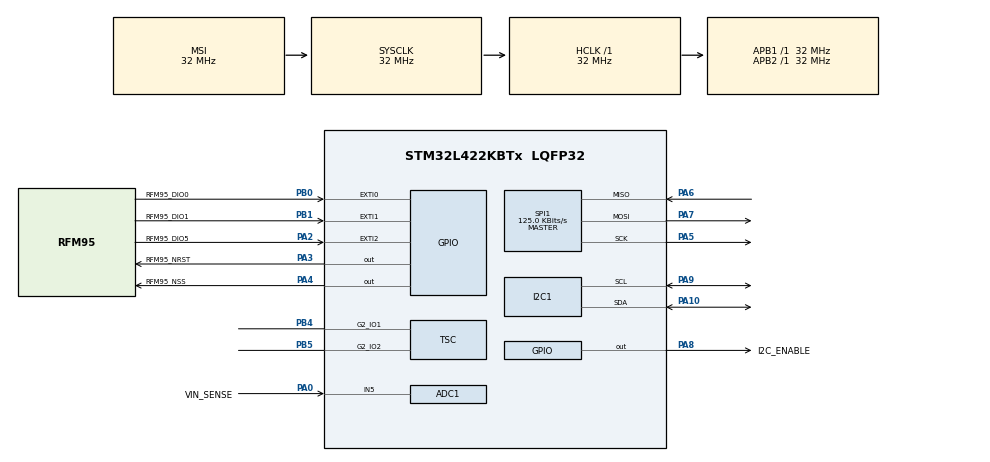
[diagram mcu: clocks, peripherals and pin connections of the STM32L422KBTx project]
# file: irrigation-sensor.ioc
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ADC1.Channel-0\#ChannelRegularConversion=ADC_CHANNEL_5
ADC1.NbrOfConversion=1
ADC1.NbrOfConversionFlag=1
ADC1.OffsetNumber-0\#ChannelRegularConversion=ADC_OFFSET_NONE
ADC1.Rank-0\#ChannelRegularConversion=1
ADC1.SamplingTime-0\#ChannelRegularConversion=ADC_SAMPLETIME_2CYCLES_5
ADC1.master=1
I2C1.Timing=0x00707CBB
IWDG.Prescaler=IWDG_PRESCALER_256
IWDG.Reload=1250
IWDG.Window=1250
Mcu.Family=STM32L4
Mcu.Name=STM32L422KBTx
Mcu.Package=LQFP32
NVIC.EXTI0_IRQn=true\:0\:0\:false\:false\:true\:true\:true
NVIC.EXTI1_IRQn=true\:0\:0\:false\:false\:true\:true\:true
NVIC.EXTI2_IRQn=true\:0\:0\:false\:false\:true\:true\:true
NVIC.LPTIM1_IRQn=true\:0\:0\:false\:false\:true\:true\:true
NVIC.PriorityGroup=NVIC_PRIORITYGROUP_4
PA0-CK_IN.GPIO_Label=VIN_SENSE
PA0-CK_IN.Signal=ADCx_IN5
PA10.Mode=I2C
PA10.Signal=I2C1_SDA
PA13\ (JTMS/SWDIO).Mode=Serial_Wire
PA13\ (JTMS/SWDIO).Signal=SYS_JTMS-SWDIO
PA14\ (JTCK/SWCLK).Mode=Serial_Wire
PA14\ (JTCK/SWCLK).Signal=SYS_JTCK-SWCLK
PA2.GPIO_Label=RFM95_DIO5
PA2.GPIO_PuPd=GPIO_NOPULL
PA2.Signal=GPXTI2
PA3.GPIO_Label=RFM95_NRST
PA3.Signal=GPIO_Output
PA4.GPIO_Label=RFM95_NSS
PA4.PinState=GPIO_PIN_SET
PA4.Signal=GPIO_Output
PA5.Mode=Full_Duplex_Master
PA5.Signal=SPI1_SCK
PA6.Mode=Full_Duplex_Master
PA6.Signal=SPI1_MISO
PA7.Mode=Full_Duplex_Master
PA7.Signal=SPI1_MOSI
PA8.GPIO_Label=I2C_ENABLE
PA8.GPIO_PuPd=GPIO_NOPULL
PA8.PinState=GPIO_PIN_SET
PA8.Signal=GPIO_Output
PA9.Mode=I2C
PA9.Signal=I2C1_SCL
PB0.GPIO_Label=RFM95_DIO0
PB0.GPIO_PuPd=GPIO_NOPULL
PB0.Signal=GPXTI0
PB1.GPIO_Label=RFM95_DIO1
PB1.GPIO_PuPd=GPIO_NOPULL
PB1.Signal=GPXTI1
PB4\ (NJTRST).Mode=G2_IO1-Sampling
PB4\ (NJTRST).Signal=TSC_G2_IO1
PB5.Mode=G2_IO2-Channel
PB5.Signal=TSC_G2_IO2
PC14-OSC32_IN\ (PC14).Mode=LSE-External-Oscillator
PC14-OSC32_IN\ (PC14).Signal=RCC_OSC32_IN
PC15-OSC32_OUT\ (PC15).Mode=LSE-External-Oscillator
PC15-OSC32_OUT\ (PC15).Signal=RCC_OSC32_OUT
ProjectManager.HeapSize=0x200
ProjectManager.StackSize=0x400
ProjectManager.TargetToolchain=STM32CubeIDE
RCC.ADCFreq_Value=32000000
RCC.AHBFreq_Value=32000000
RCC.APB1Freq_Value=32000000
RCC.APB1TimFreq_Value=32000000
RCC.APB2Freq_Value=32000000
RCC.APB2TimFreq_Value=32000000
RCC.CortexFreq_Value=32000000
RCC.HCLKFreq_Value=32000000
RCC.HSE_VALUE=8000000
RCC.HSI48_VALUE=48000000
RCC.HSI_VALUE=16000000
RCC.LPTIM1CLockSelection=RCC_LPTIM1CLKSOURCE_LSE
RCC.MSIClockRange=RCC_MSIRANGE_10
RCC.MSI_VALUE=32000000
RCC.RTCClockSelection=RCC_RTCCLKSOURCE_LSE
RCC.SYSCLKFreq_VALUE=32000000
RCC.USBFreq_Value=32000000
RCC.VCOOutputFreq_Value=256000000
SH.ADCx_IN5.0=ADC1_IN5,IN5-Single-Ended
SPI1.BaudRatePrescaler=SPI_BAUDRATEPRESCALER_256
SPI1.CalculateBaudRate=125.0 KBits/s
SPI1.DataSize=SPI_DATASIZE_8BIT
SPI1.Direction=SPI_DIRECTION_2LINES
SPI1.Mode=SPI_MODE_MASTER
SPI1.VirtualType=VM_MASTER
TSC.ChannelIOs-G2_IO2=TSC_GROUP2_IO2
TSC.ChannelIOs-G2_IO2-Channel=TSC_GROUP2_IO2
TSC.PulseGeneratorPrescaler=TSC_PG_PRESC_DIV64
TSC.SamplingIOs=TSC_GROUP2_IO1
TSC.SpreadSpectrum=DISABLE
VP_ADC1_TempSens_Input.Mode=IN-TempSens
VP_IWDG_VS_IWDG.Mode=IWDG_Activate
VP_LPTIM1_VS_LPTIM_counterModeInternalClock.Mode=Counts__internal_clock_event_00
VP_RTC_VS_RTC_Activate.Mode=RTC_Enabled
board=custom

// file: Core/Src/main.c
/* USER CODE BEGIN Header */
/**
  ******************************************************************************
  * @file           : main.c
  * @brief          : Main program body
  ******************************************************************************
  * @attention
  *
  * Copyright (c) 2021 STMicroelectronics.
  * All rights reserved.
  *
  * This software is licensed under terms that can be found in the LICENSE file
  * in the root directory of this software component.
  * If no LICENSE file comes with this software, it is provided AS-IS.
  *
  ******************************************************************************
  */
/* USER CODE END Header */
#include "main.h"
#include "adc.h"
#include "i2c.h"
#include "iwdg.h"
#include "lptim.h"
#include "rtc.h"
#include "spi.h"
#include "tsc.h"
#include "gpio.h"

/* USER CODE BEGIN Includes */
#include <application.h>
/* USER CODE END Includes */

void SystemClock_Config(void);

int main(void)
{

  /* MCU Configuration--------------------------------------------------------*/

  /* Reset of all peripherals, Initializes the Flash interface and the Systick. */
  HAL_Init();

  /* Configure the system clock */
  SystemClock_Config();

  /* USER CODE BEGIN SysInit */
  // Check and handle if the system was resumed from StandBy mode
  if(__HAL_PWR_GET_FLAG(PWR_FLAG_SB) != RESET)
  {
    // Clear Standby flag
    __HAL_PWR_CLEAR_FLAG(PWR_FLAG_SB);
  }
  /* USER CODE END SysInit */

  /* Initialize all configured peripherals */
  MX_GPIO_Init();
  MX_ADC1_Init();
  MX_I2C1_Init();
  MX_SPI1_Init();
  MX_TSC_Init();
  MX_RTC_Init();
  MX_LPTIM1_Init();
  MX_IWDG_Init();
  /* USER CODE BEGIN 2 */

  HAL_IWDG_Refresh(&hiwdg);
  HAL_LPTIM_Counter_Start_IT(&hlptim1, 0xffff);

  HAL_GPIO_WritePin(I2C_ENABLE_GPIO_Port, I2C_ENABLE_Pin, GPIO_PIN_RESET);
  HAL_Delay(10);

  application_main();

  HAL_GPIO_WritePin(I2C_ENABLE_GPIO_Port, I2C_ENABLE_Pin, GPIO_PIN_SET);
  HAL_LPTIM_Counter_Stop_IT(&hlptim1);
  HAL_NVIC_DisableIRQ(EXTI0_IRQn);
  HAL_NVIC_DisableIRQ(EXTI1_IRQn);
  HAL_NVIC_DisableIRQ(EXTI2_IRQn);

  HAL_PWREx_EnableGPIOPullDown(PWR_GPIO_A, PWR_GPIO_BIT_7); // MOSI
  HAL_PWREx_EnableGPIOPullDown(PWR_GPIO_A, PWR_GPIO_BIT_5); // SCK
  HAL_PWREx_EnableGPIOPullUp(PWR_GPIO_A, PWR_GPIO_BIT_3); // NRST
  HAL_PWREx_EnableGPIOPullDown(PWR_GPIO_A, PWR_GPIO_BIT_4); // NSS
  HAL_PWREx_EnablePullUpPullDownConfig();
  HAL_PWREx_DisableSRAM2ContentRetention();
  HAL_PWREx_EnableBORPVD_ULP();

  // Disable all used wakeup sources
  HAL_RTCEx_DeactivateWakeUpTimer(&hrtc);

  // Clear all related wakeup flags
  __HAL_PWR_CLEAR_FLAG(PWR_FLAG_WU);

  // Setting the Wake up time 1s *
  // 1h = 0x0E10
  // 10min = 0x0258
  // 10 sec = 0x000a
  // 60 sec = 0x003c

  HAL_RTCEx_SetWakeUpTimer_IT(&hrtc, 0x0258, RTC_WAKEUPCLOCK_CK_SPRE_16BITS, 0);

  // Enter the Standby mode
  HAL_PWR_EnterSTANDBYMode();

  /* USER CODE END 2 */

  /* Infinite loop */
  while (1)
  {

  }
}

void SystemClock_Config(void)
{
  RCC_OscInitTypeDef RCC_OscInitStruct = {0};
  RCC_ClkInitTypeDef RCC_ClkInitStruct = {0};

  /** Configure the main internal regulator output voltage
  */
  if (HAL_PWREx_ControlVoltageScaling(PWR_REGULATOR_VOLTAGE_SCALE1) != HAL_OK)
  {
    Error_Handler();
  }
  /** Configure LSE Drive Capability
  */
  HAL_PWR_EnableBkUpAccess();
  __HAL_RCC_LSEDRIVE_CONFIG(RCC_LSEDRIVE_LOW);
  /** Initializes the RCC Oscillators according to the specified parameters
  * in the RCC_OscInitTypeDef structure.
  */
  RCC_OscInitStruct.OscillatorType = RCC_OSCILLATORTYPE_LSI|RCC_OSCILLATORTYPE_LSE
                              |RCC_OSCILLATORTYPE_MSI;
  RCC_OscInitStruct.LSEState = RCC_LSE_ON;
  RCC_OscInitStruct.LSIState = RCC_LSI_ON;
  RCC_OscInitStruct.MSIState = RCC_MSI_ON;
  RCC_OscInitStruct.MSICalibrationValue = 0;
  RCC_OscInitStruct.MSIClockRange = RCC_MSIRANGE_10;
  RCC_OscInitStruct.PLL.PLLState = RCC_PLL_NONE;
  if (HAL_RCC_OscConfig(&RCC_OscInitStruct) != HAL_OK)
  {
    Error_Handler();
  }
  /** Initializes the CPU, AHB and APB buses clocks
  */
  RCC_ClkInitStruct.ClockType = RCC_CLOCKTYPE_HCLK|RCC_CLOCKTYPE_SYSCLK
                              |RCC_CLOCKTYPE_PCLK1|RCC_CLOCKTYPE_PCLK2;
  RCC_ClkInitStruct.SYSCLKSource = RCC_SYSCLKSOURCE_MSI;
  RCC_ClkInitStruct.AHBCLKDivider = RCC_SYSCLK_DIV1;
  RCC_ClkInitStruct.APB1CLKDivider = RCC_HCLK_DIV1;
  RCC_ClkInitStruct.APB2CLKDivider = RCC_HCLK_DIV1;

  if (HAL_RCC_ClockConfig(&RCC_ClkInitStruct, FLASH_LATENCY_1) != HAL_OK)
  {
    Error_Handler();
  }
  /** Enable MSI Auto calibration
  */
  HAL_RCCEx_EnableMSIPLLMode();
}

void Error_Handler(void)
{
  __disable_irq();
  while (1)
  {
  }
}
